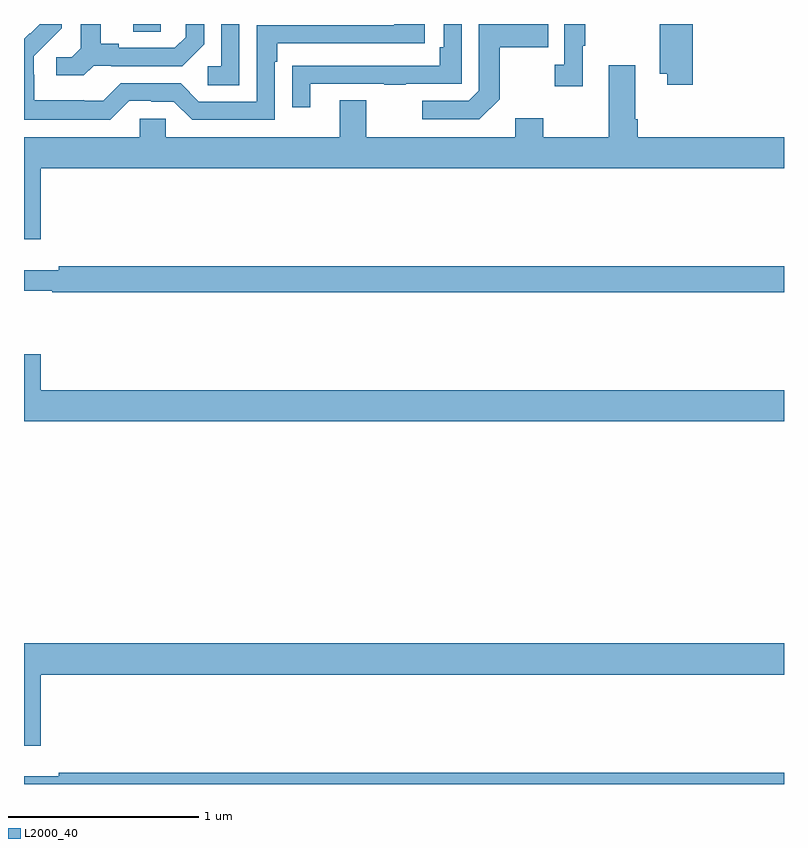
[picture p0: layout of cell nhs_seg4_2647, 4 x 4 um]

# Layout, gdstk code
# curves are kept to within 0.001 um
import gdstk
lib = gdstk.Library(unit=1e-6, precision=1e-09)
def R(c, l, rs):  # rectangles x0, y0, x1, y1
    for r in rs: c.add(gdstk.rectangle(r[:2], r[2:], *l))
def P(c, l, *ps):  # polygons
    for p in ps: c.add(gdstk.Polygon(p, *l))
L2000_40 = (2000, 40)

nhs_seg4_2647 = lib.new_cell('nhs_seg4_2647')
R(nhs_seg4_2647, L2000_40, [(249.575,810.859,249.72,810.9)])
P(nhs_seg4_2647, L2000_40, [(251.941,810.785),(251.953,810.785),(251.953,810.9),(251.844,810.9),(251.844,810.686),(251.793,810.686),(251.793,810.573),(251.941,810.573)],
  [(250.507,810.585),(250.897,810.585),(250.897,810.58),(251.009,810.58),(251.009,810.585),(251.304,810.585),(251.304,810.9),(251.208,810.9),(251.208,810.778),(251.188,810.778),(251.188,810.681),(250.513,810.681),(250.513,810.68),(250.411,810.68),(250.411,810.462),(250.507,810.462)],
  [(251.503,810.505),(251.503,810.778),(251.759,810.778),(251.759,810.9),(251.394,810.9),(251.394,810.549),(251.34,810.495),(251.097,810.495),(251.097,810.399),(251.397,810.399)],
  [(252.521,810.9),(252.346,810.9),(252.346,810.638),(252.386,810.638),(252.386,810.579),(252.521,810.579)],
  [(249.555,810.495),(249.671,810.495),(249.671,810.492),(249.789,810.492),(249.885,810.396),(250.32,810.396),(250.32,810.701),(250.333,810.701),(250.333,810.798),(251.11,810.798),(251.11,810.9),(250.949,810.9),(250.949,810.894),(250.224,810.894),(250.224,810.492),(249.921,810.492),(249.825,810.588),(249.51,810.588),(249.417,810.495),(249.317,810.495),(249.317,810.499),(249.054,810.499),(249.054,810.633),(249.052,810.633),(249.052,810.73),(249.198,810.878),(249.198,810.9),(249.084,810.9),(249.033,810.849),(249.03,810.852),(249,810.822),(249,810.395),(249.455,810.395)],
  [(250.134,810.9),(250.038,810.9),(250.038,810.678),(249.966,810.678),(249.966,810.577),(250.134,810.577)],
  [(249.366,810.681),(249.46,810.681),(249.46,810.678),(249.832,810.678),(249.948,810.794),(249.948,810.9),(249.851,810.9),(249.851,810.831),(249.794,810.774),(249.499,810.774),(249.499,810.797),(249.403,810.797),(249.403,810.9),(249.299,810.9),(249.299,810.773),(249.252,810.726),(249.171,810.726),(249.171,810.629),(249.314,810.629)],
  [(249.088,810.14),(253,810.14),(253,810.304),(252.23,810.304),(252.23,810.4),(252.217,810.4),(252.217,810.682),(252.077,810.682),(252.077,810.304),(251.733,810.304),(251.733,810.403),(251.585,810.403),(251.585,810.304),(250.801,810.304),(250.801,810.499),(250.661,810.499),(250.661,810.304),(249.747,810.304),(249.747,810.402),(249.609,810.402),(249.609,810.304),(249,810.304),(249,809.766),(249.088,809.766)],
  [(253,809.624),(249.184,809.624),(249.184,809.605),(249,809.605),(249,809.496),(249.148,809.496),(249.148,809.488),(253,809.488)],
  [(253,808.972),(249.088,808.972),(249.088,809.161),(249,809.161),(249,808.808),(253,808.808)],
  [(249.088,807.476),(253,807.476),(253,807.64),(249,807.64),(249,807.102),(249.088,807.102)],
  [(253,806.96),(249.184,806.96),(249.184,806.941),(249,806.941),(249,806.9),(253,806.9)])

lib.write_gds('nhs_seg4_2647.gds')
